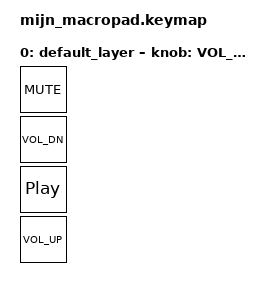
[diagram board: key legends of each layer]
#include <behaviors.dtsi>
#include <dt-bindings/zmk/keys.h>
#include <dt-bindings/zmk/bt.h>

/ {
    keymap {
        compatible = "zmk,keymap";

        default_layer {
            bindings = <
                &kp C_MUTE      /* encoder knop (drukken) */
                &kp C_VOL_DN    /* switch 1 */
                &kp C_PP        /* switch 2 */
                &kp C_VOL_UP    /* switch 3 */
            >;

            sensor-bindings = <&inc_dec_kp C_VOL_UP C_VOL_DN>;
        };
    };
};
